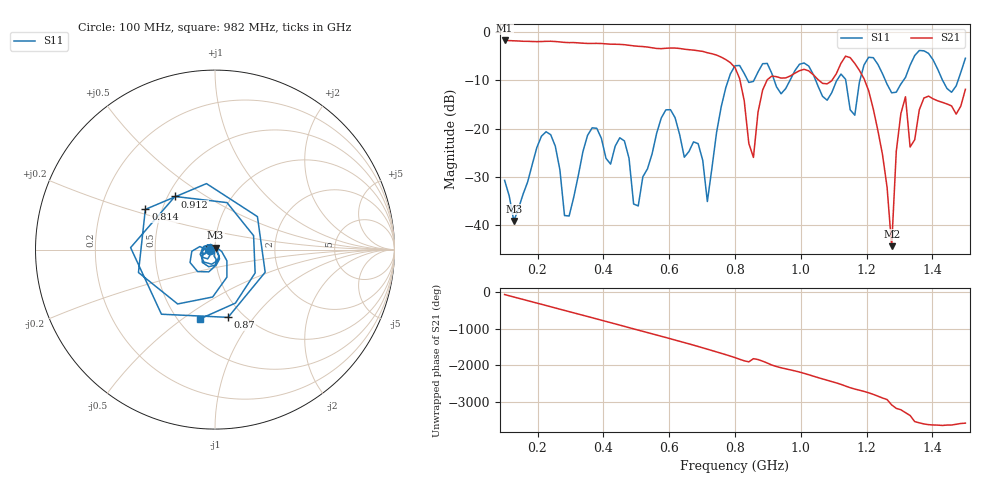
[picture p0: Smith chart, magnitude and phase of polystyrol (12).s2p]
! NanoVNA-App
! Date: 2025-09-25 15:29:59
! Start: 100MHz Stop: 1,5GHz Points: 101
! S-Parameter data: F S11 S21 S12 S22
# Hz S RI R 50
!  Frequency  S11_Real  S11_Imag  S21_Real  S21_Imag  S12_Real  S12_Imag  S22_Real  S22_Imag
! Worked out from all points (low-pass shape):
!   101 points, 100 MHz to 1.5 GHz, reference 50 ohm
!   highest |S21| = -1.80 dB at 100 MHz (marker M1); lowest = -44.3 dB at 1.276 GHz (marker M2)
!   |S21| within 3 dB of the highest: start of sweep to 742.7 MHz
!   lowest |S11| = -39.1 dB at 128 MHz (marker M3), VSWR 1.02, Z = 50.3 + j1.06 ohm
!   |S11| at or under -10 dB: start of sweep to 779.6 MHz; 1.045 GHz to 1.11 GHz (65.12 MHz wide, 6.04 % of centre); 1.257 GHz to 1.312 GHz (55.52 MHz wide, 4.32 % of centre) (the widest 3 of 7)
!   S12 and S22 are empty: the file has one direction only
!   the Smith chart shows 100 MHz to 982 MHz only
!   S11 on the Smith chart (normalised r, x): 100 MHz: 0.94, -0.01; 814 MHz: 0.40, +0.23; 870 MHz: 0.85, -0.75; 912 MHz: 0.54, +0.37; 982 MHz: 0.63, -0.58
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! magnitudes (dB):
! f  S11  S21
! 100 MHz  -30.7  -1.8
! 128 MHz  -39.1  -1.9
! 212 MHz  -21.6  -2.0
! 282 MHz  -38.0  -2.2
! 338 MHz  -24.8  -2.4
! 464 MHz  -22.6  -2.7
! 506 MHz  -36.0  -3.0
! 576 MHz  -17.8  -3.5
! 716 MHz  -35.1  -4.3
! 800 MHz  -7.0  -7.4
! 814 MHz  -7.0  -9.7
! 856 MHz  -10.3  -26.0
! 870 MHz  -8.3  -16.6
! 912 MHz  -8.6  -9.2
! 982 MHz  -8.0  -8.6
! 1.038 GHz  -8.8  -8.9
! 1.164 GHz  -17.2  -6.5
! 1.192 GHz  -6.9  -9.7
! 1.276 GHz  -12.6  -44.3
! 1.318 GHz  -9.4  -13.4
! 1.332 GHz  -6.9  -23.8
! 1.5 GHz  -5.5  -11.9
